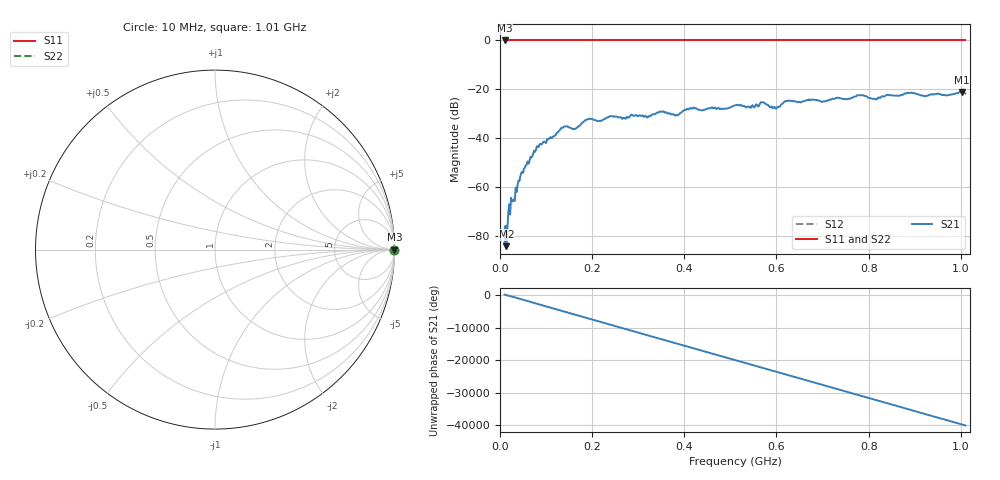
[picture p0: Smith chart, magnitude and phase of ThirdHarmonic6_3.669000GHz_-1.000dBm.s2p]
! 8/17/2025 12:23:51 PM
! C:\ANRITSUVNA\TEMP\TEMP.S2P
! CHANNEL.1
! TR.MEASUREMENT
! RAW.DATA
! RF.CORRECTION.OFF
! AVERAGING.OFF
! IF.BANDWIDTH: 5KHZ
! SWEEPTYPE:  FREQ.SWEEP(Linear)
! Reference Plane Port Info
! PORT:  PORT1  PORT2
! DISTANCE:  0  m  0  m
! TIME:  0  s  0  s
! PHASE.OFFSET:  0  deg.  0  deg.
! LOSS:  0  dB  0  dB
! REF.LOSS:  0  dB  0  dB
! REF.FREQ:  0  Hz  0  Hz
! Power Info
! POWER:  -20  dBm  -20  dBm
! EFF.POWER:  -20  dBm  -20  dBm
! SOURCE.ATTEN:  0  dB  0  dB
! TEST.ATTEN:  0  dB  0  dB
# GHZ S RI R 50.0
! FREQ.GHZ  S11RE  S11IM  S21RE  S21IM  S12RE  S12IM  S22RE  S22IM
!; PortSelection: Port_12
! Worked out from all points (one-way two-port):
!   501 points, 10 MHz to 1.01 GHz, reference 50 ohm
!   highest |S21| = -21.03 dB at 1.002 GHz (marker M1); lowest = -84.1 dB at 14 MHz (marker M2)
!   lowest |S11| = 0.0 dB at 10 MHz (marker M3)
!   |S11| at or under -10 dB: nowhere
!   |S22| runs from 0.0 to 0.0 dB; largest |S21 - S12| = 1.1
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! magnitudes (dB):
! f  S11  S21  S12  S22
! 10 MHz  0.0  -82.5  0.0  0.0
! 14 MHz  0.0  -84.1  0.0  0.0
! 22 MHz  0.0  -71.2  0.0  0.0
! 32 MHz  0.0  -65.6  0.0  0.0
! 44 MHz  0.0  -55.7  0.0  0.0
! 78 MHz  0.0  -44.7  0.0  0.0
! 136 MHz  0.0  -35.7  0.0  0.0
! 162 MHz  0.0  -36.2  0.0  0.0
! 178 MHz  0.0  -33.7  0.0  0.0
! 194 MHz  0.0  -32.1  0.0  0.0
! 322 MHz  0.0  -31.0  0.0  0.0
! 344 MHz  0.0  -29.5  0.0  0.0
! 384 MHz  0.0  -30.6  0.0  0.0
! 416 MHz  0.0  -27.9  0.0  0.0
! 510 MHz  0.0  -26.6  0.0  0.0
! 570 MHz  0.0  -25.3  0.0  0.0
! 596 MHz  0.0  -27.2  0.0  0.0
! 622 MHz  0.0  -24.8  0.0  0.0
! 678 MHz  0.0  -24.2  0.0  0.0
! 844 MHz  0.0  -22.4  0.0  0.0
! 1.002 GHz  0.0  -21.0  0.0  0.0
! 1.01 GHz  0.0  -21.7  0.0  0.0
